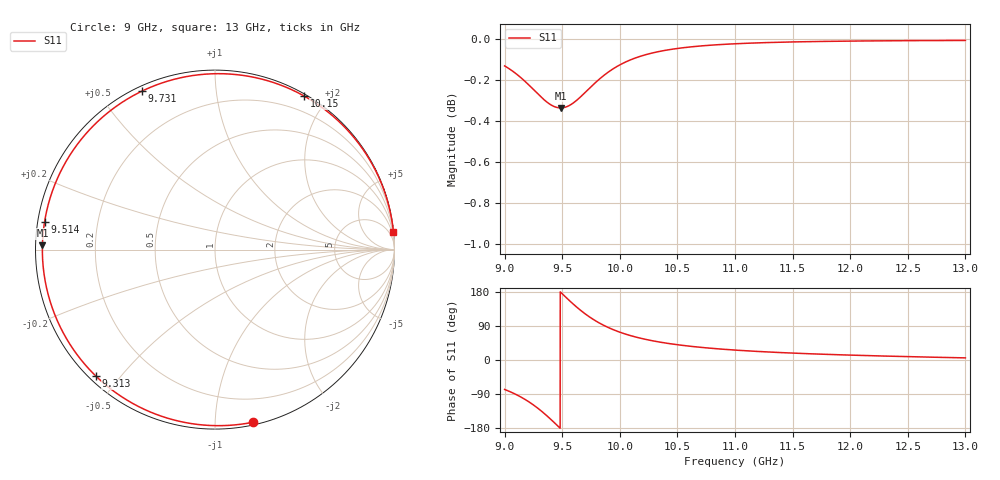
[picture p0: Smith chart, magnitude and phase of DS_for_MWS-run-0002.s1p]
! TOUCHSTONE file generated by CST DESIGN STUDIO
! Date and time: Tue Feb  4 17:44:57 2025
! Project name: C:\Work\MatlabApps\UnitCellOptimizationMatlab\CST\unitcell.cst
! Tree item: Tasks\Sweep1\SPara1\S-Parameters
! Header version: 2024
! Port assignment regex: !\s*Touchstone port\s*([0-9]+)\s*=\s*(CST MWS port|CST DES external port|CST DES block port)\s*(.+)\s* \(\"(.*)\"\)(\s*mode\s*([0-9]+))?.*
! Touchstone port assignment:
! Touchstone port 1 = CST DES external port 1 ("")
# GHz S MA R 50
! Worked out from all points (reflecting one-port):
!   4001 points, 9 GHz to 13 GHz, reference 50 ohm
!   lowest |S11| = -0.3 dB at 9.487 GHz (marker M1), VSWR 51.48, Z = 0.971 + j0.634 ohm
!   phase of S11 starts at -78 deg and turns -277 deg over the sweep
!   S11 on the Smith chart (normalised r, x): 9 GHz: 0.02, -1.24; 9.313 GHz: 0.02, -0.43; 9.514 GHz: 0.02, +0.08; 9.731 GHz: 0.02, +0.64; 10.15 GHz: 0.02, +1.74; 13 GHz: 0, +20
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9  0.9848 -77.7
9.079  0.9815 -88.0
9.178  0.9763 -104.1
9.248  0.972 -118.1
9.313  0.968 -133.2
9.359  0.9654 -145.1
9.407  0.9634 -158.3
9.448  0.9622 -170.1
9.487  0.9619 178.5
9.5  0.9619 174.7
9.514  0.9621 170.7
9.567  0.9634 155.5
9.627  0.9661 139.3
9.678  0.969 126.7
9.731  0.9722 114.9
9.786  0.9755 104.0
9.846  0.9788 93.7
9.922  0.9823 82.7
10  0.9853 73.4
10.148  0.9895 59.8
10.307  0.9923 49.4
10.5  0.9944 40.3
10.722  0.9959 32.8
11  0.9971 26.2
11.5  0.9981 18.2
12  0.9986 12.9
12.5  0.9988 8.9
13  0.9989 5.6
